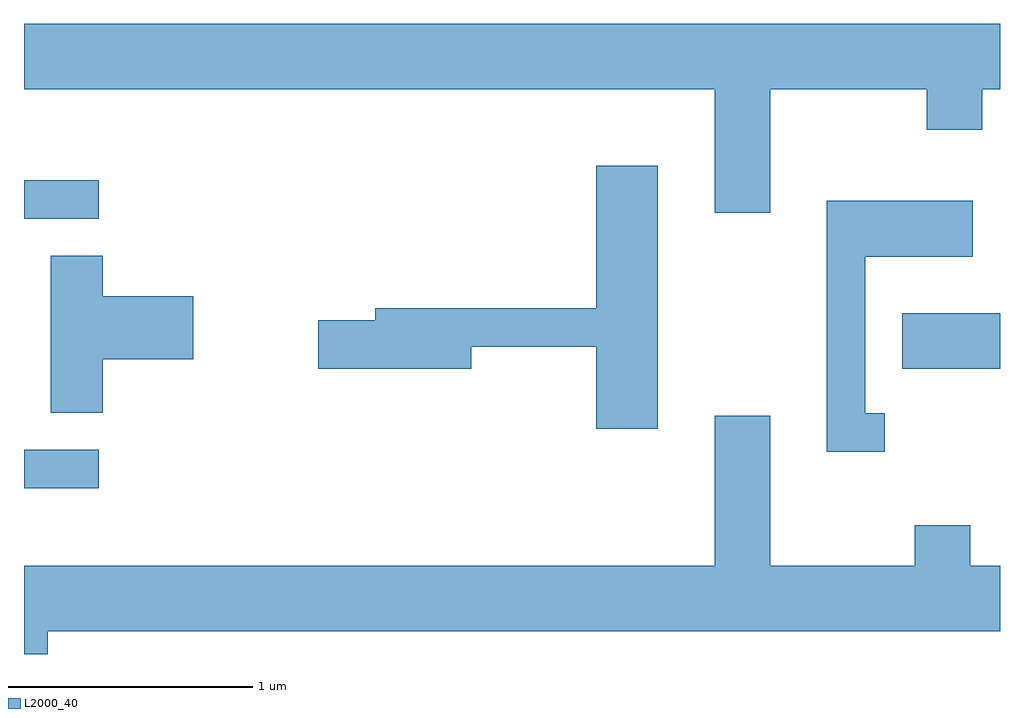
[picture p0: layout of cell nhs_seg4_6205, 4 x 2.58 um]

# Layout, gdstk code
import gdstk
lib = gdstk.Library(unit=1e-6, precision=1e-09)
def R(c, l, rs):  # rectangles x0, y0, x1, y1
    for r in rs: c.add(gdstk.rectangle(r[:2], r[2:], *l))
def P(c, l, *ps):  # polygons
    for p in ps: c.add(gdstk.Polygon(p, *l))
L2000_40 = (2000, 40)

nhs_seg4_6205 = lib.new_cell('nhs_seg4_6205')
R(nhs_seg4_6205, L2000_40, [(367.611,1288.661,367.918,1288.819), (371.211,1289.151,371.611,1289.379), (367.611,1289.766,367.918,1289.924)])
P(nhs_seg4_6205, L2000_40, [(370.669,1290.296),(371.311,1290.296),(371.311,1290.131),(371.539,1290.131),(371.539,1290.296),(371.611,1290.296),(371.611,1290.564),(367.611,1290.564),(367.611,1290.296),(370.441,1290.296),(370.441,1289.791),(370.669,1289.791)],
  [(370.209,1289.984),(369.956,1289.984),(369.956,1289.399),(369.051,1289.399),(369.051,1289.349),(368.816,1289.349),(368.816,1289.151),(369.444,1289.151),(369.444,1289.241),(369.956,1289.241),(369.956,1288.906),(370.209,1288.906)],
  [(371.138,1288.969),(371.059,1288.969),(371.059,1289.611),(371.499,1289.611),(371.499,1289.839),(370.901,1289.839),(370.901,1288.811),(371.138,1288.811)],
  [(367.934,1289.191),(368.304,1289.191),(368.304,1289.449),(367.934,1289.449),(367.934,1289.614),(367.721,1289.614),(367.721,1288.971),(367.934,1288.971)],
  [(367.709,1288.076),(371.611,1288.076),(371.611,1288.344),(371.489,1288.344),(371.489,1288.509),(371.261,1288.509),(371.261,1288.344),(370.669,1288.344),(370.669,1288.959),(370.441,1288.959),(370.441,1288.344),(367.611,1288.344),(367.611,1287.982),(367.709,1287.982)])

lib.write_gds('nhs_seg4_6205.gds')
